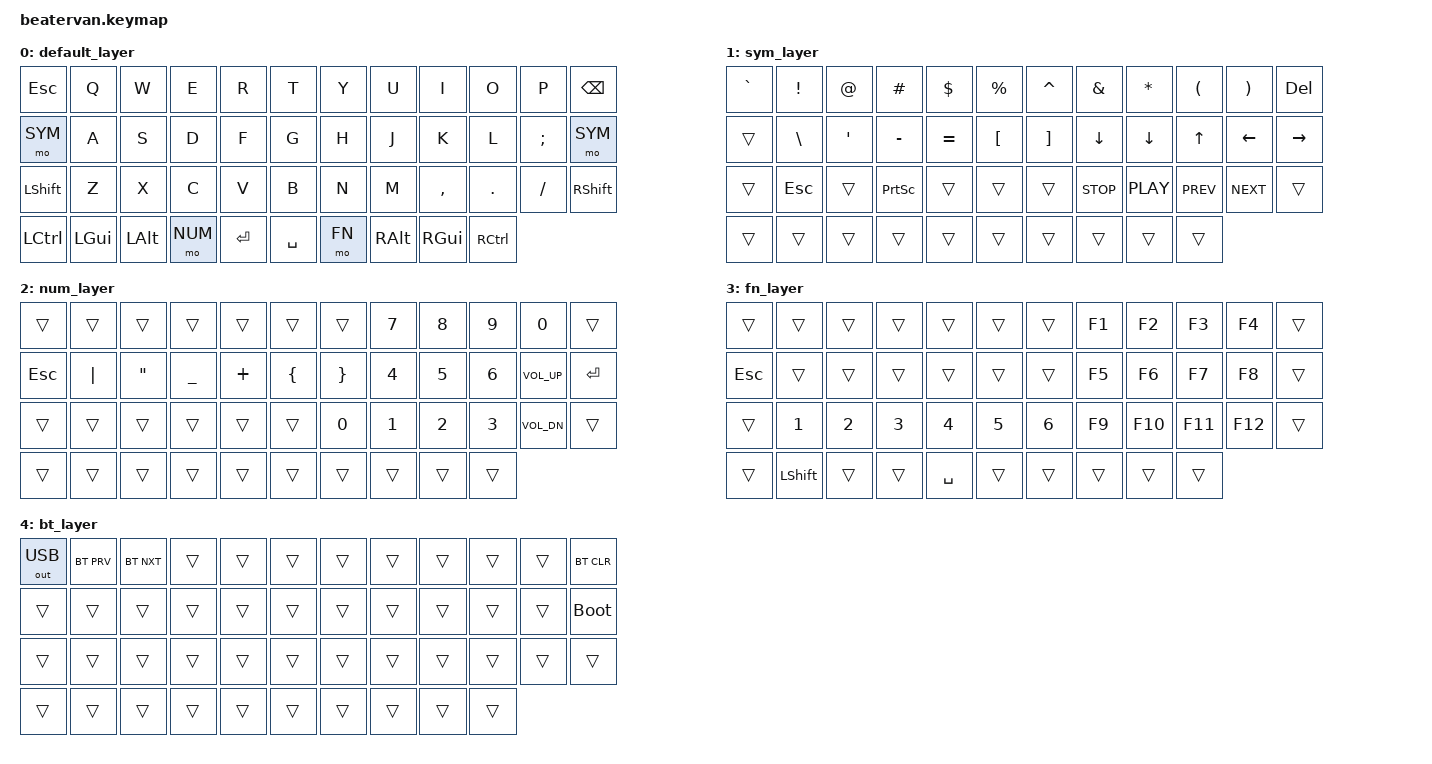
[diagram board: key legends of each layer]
#include <behaviors.dtsi>
#include <dt-bindings/zmk/keys.h>
#include <dt-bindings/zmk/bt.h>
#include <dt-bindings/zmk/outputs.h>

#define BASE 0
#define SYM 1
#define NUM 2
#define FN 3
#define BT 4

/ {
    conditional_layers {
        compatible = "zmk,conditional-layers";
        tri_layer {
            if-layers = <NUM FN>;
            then-layer = <BT>;
        };
    };

    keymap {
        compatible = "zmk,keymap";

        default_layer {
            bindings = <
    &kp ESC    &kp Q     &kp W     &kp E    &kp R    &kp T      &kp Y   &kp U      &kp I      &kp O      &kp P     &kp BSPC
    &mo SYM    &kp A     &kp S     &kp D    &kp F    &kp G      &kp H   &kp J      &kp K      &kp L      &kp SEMI  &mo SYM
    &kp LSHFT  &kp Z     &kp X     &kp C    &kp V    &kp B      &kp N   &kp M      &kp COMMA  &kp DOT    &kp FSLH  &kp RSHFT
    &kp LCTRL  &kp LGUI  &kp LALT  &mo NUM  &kp RET  &kp SPACE  &mo FN  &kp RALT   &kp RGUI   &kp RCTRL
            >;
        };
        sym_layer {
            bindings = <
    &kp GRAVE  &kp EXCL  &kp AT   &kp HASH   &kp DLLR   &kp PRCNT  &kp CARET  &kp AMPS    &kp STAR    &kp LPAR    &kp RPAR    &kp DEL
    &trans     &kp BSLH  &kp SQT  &kp MINUS  &kp EQUAL  &kp LBKT   &kp RBKT   &kp DOWN    &kp DOWN    &kp UP      &kp LEFT    &kp RIGHT
    &trans     &kp ESC   &trans   &kp PSCRN  &trans     &trans     &trans     &kp C_STOP  &kp C_PLAY  &kp C_PREV  &kp C_NEXT  &trans
    &trans     &trans    &trans   &trans     &trans     &trans     &trans     &trans      &trans      &trans
            >;
        };
        num_layer {
            bindings = <
    &trans   &trans    &trans   &trans     &trans    &trans    &trans    &kp N7  &kp N8  &kp N9  &kp N0        &trans
    &kp ESC  &kp PIPE  &kp DQT  &kp UNDER  &kp PLUS  &kp LBRC  &kp RBRC  &kp N4  &kp N5  &kp N6  &kp C_VOL_UP  &kp ENTER
    &trans   &trans    &trans   &trans     &trans    &trans    &kp N0    &kp N1  &kp N2  &kp N3  &kp C_VOL_DN  &trans
    &trans   &trans    &trans   &trans     &trans    &trans    &trans    &trans  &trans  &trans
            >;
        };
        fn_layer {
            bindings = <
    &trans   &trans     &trans  &trans  &trans     &trans  &trans  &kp F1  &kp F2   &kp F3   &kp F4   &trans
    &kp ESC  &trans     &trans  &trans  &trans     &trans  &trans  &kp F5  &kp F6   &kp F7   &kp F8   &trans
    &trans   &kp N1     &kp N2  &kp N3  &kp N4     &kp N5  &kp N6  &kp F9  &kp F10  &kp F11  &kp F12  &trans
    &trans   &kp LSHFT  &trans  &trans  &kp SPACE  &trans  &trans  &trans  &trans   &trans
            >;
        };
        bt_layer {
            bindings = <
    &out OUT_USB  &bt BT_PRV  &bt BT_NXT  &trans  &trans  &trans  &trans  &trans  &trans  &trans  &trans  &bt BT_CLR
    &trans        &trans      &trans      &trans  &trans  &trans  &trans  &trans  &trans  &trans  &trans  &bootloader
    &trans        &trans      &trans      &trans  &trans  &trans  &trans  &trans  &trans  &trans  &trans  &trans
    &trans        &trans      &trans      &trans  &trans  &trans  &trans  &trans  &trans  &trans
            >;
        };
    };
};
